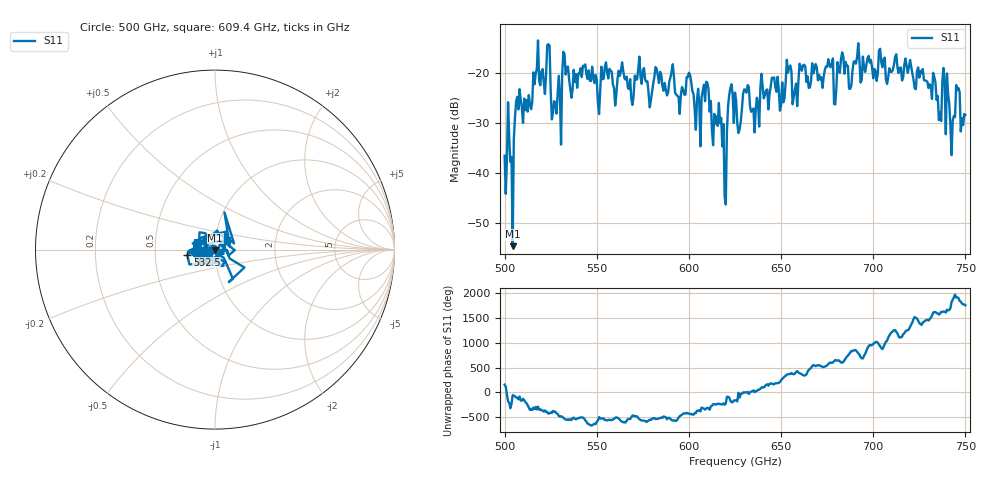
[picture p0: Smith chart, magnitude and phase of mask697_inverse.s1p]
!Created with skrf (http://scikit-rf.org).
# GHz S MA R 50.0
!freq magS11 angS11
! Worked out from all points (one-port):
!   401 points, 500 GHz to 750 GHz, reference 50 ohm
!   lowest |S11| = -54.5 dB at 504.4 GHz (marker M1), VSWR 1.00, Z = 50.1 - j0.151 ohm
!   |S11| at or under -10 dB: start of sweep to end of sweep
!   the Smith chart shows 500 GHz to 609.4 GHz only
!   S11 on the Smith chart (normalised r, x): 500 GHz: 0.97, +0.01; 532.5 GHz: 0.73, -0.04; 609.4 GHz: 1.13, +0.12
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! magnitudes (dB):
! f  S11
! 500 GHz  -36.5
! 504.4 GHz  -54.5
! 506.9 GHz  -24.7
! 513.8 GHz  -26.1
! 516.9 GHz  -20.0
! 523.8 GHz  -14.1
! 526.9 GHz  -25.5
! 531.2 GHz  -20.0
! 532.5 GHz  -16.1
! 550.6 GHz  -25.9
! 562.5 GHz  -20.5
! 579.4 GHz  -25.3
! 590.6 GHz  -19.6
! 593.8 GHz  -24.5
! 600 GHz  -19.9
! 605 GHz  -23.1
! 609.4 GHz  -21.7
! 617.5 GHz  -28.9
! 619.4 GHz  -44.5
! 622.5 GHz  -22.9
! 625 GHz  -23.8
! 656.2 GHz  -26.2
! 687.5 GHz  -23.1
! 718.8 GHz  -19.9
! 738.8 GHz  -22.0
! 743.1 GHz  -29.5
! 745.6 GHz  -23.3
! 750 GHz  -28.3
